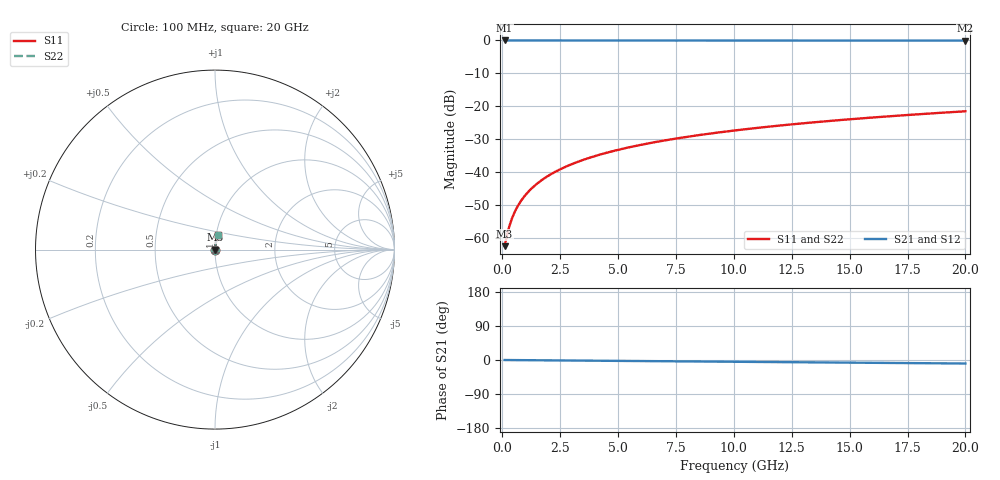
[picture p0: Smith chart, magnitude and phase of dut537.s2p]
! Touchstone file exported from HFSS 2026.1.0
!  File:  C:/ffzhzh/LocalFiles/Ansys_Project_Files/temp_train_TSV_537_1783023948_51716.aedt
!  Generated:  04:28:03 AM Jul  3, 2026
!  Design:  TSV
!  Project:  temp_train_TSV_537_1783023948_51716
! Variables:
!  h_bsmrdl = 2um
!  h_ox = 20um
!  h_rdl = 5um
!  h_sub = 77.66um
!  h_tmrdl = 5um
!  h_tsv = 77.66um
!  h_via = 3um
!  l_bsmrdl = 300um
!  l_sub = 407.86um
!  l_tmrdl = 200um
!  m_sub = 200um
!  pitch = 39.42um
!  r_tsv = 3.93um
!  s_tmrdl = 10um
!  w_bsmrdl = 18um
!  w_sub = 500um
!  w_tmrdl = 12um
!  x_tsv_center1 = 206um
!  x_tsv_center2 = 524um
!  x_tsv_center3 = 736um
!  x_tsv_center4 = 1054um
!  x_tsv_center5 = 1266um
!  x_tsv_center6 = 1584um
# GHz S MA R 50.000000
! Terminal data exported
! Port[1] = TSV1_1_T1
! Port[2] = TSV1_1_T2
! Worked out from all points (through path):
!   200 points, 100 MHz to 20 GHz, reference 50 ohm
!   highest |S21| = -0.01 dB at 100 MHz (marker M1); lowest = -0.1 dB at 20 GHz (marker M2)
!   group delay of S21, straight-line fit = 1.28 ps
!   lowest |S11| = -62.4 dB at 100 MHz (marker M3), VSWR 1.00, Z = 50.1 + j0.0461 ohm
!   |S11| at or under -10 dB: start of sweep to end of sweep
!   |S22| runs from -62.4 to -21.5 dB; largest |S21 - S12| = 5.2e-15
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0.1  0.0007597 37.3  0.9994 -0.0  0.9994 -0.0  0.0007597 37.3
! Gamma 0 0 0 0
! Port Impedance 50 0 50 0
0.2  0.001104 56.1  0.9994 -0.1  0.9994 -0.1  0.001104 56.1
0.3  0.001505 65.3  0.9994 -0.1  0.9994 -0.1  0.001505 65.3
0.4  0.001925 70.5  0.9994 -0.2  0.9994 -0.2  0.001925 70.5
0.5  0.002353 73.8  0.9993 -0.2  0.9993 -0.2  0.002353 73.8
0.6  0.002784 76.1  0.9993 -0.3  0.9993 -0.3  0.002784 76.1
0.8  0.003655 79.0  0.9993 -0.4  0.9993 -0.4  0.003655 79.0
1.1  0.00497 81.4  0.9993 -0.5  0.9993 -0.5  0.00497 81.4
1.5  0.006731 83.0  0.9992 -0.7  0.9992 -0.7  0.006731 83.0
1.8  0.008051 83.7  0.9992 -0.9  0.9992 -0.9  0.008051 83.7
2.1  0.00937 84.1  0.9992 -1.0  0.9992 -1.0  0.00937 84.1
2.7  0.012 84.5  0.999 -1.3  0.999 -1.3  0.012 84.5
3.5  0.01548 84.7  0.9989 -1.7  0.9989 -1.7  0.01548 84.7
4.2  0.0185 84.6  0.9987 -2.0  0.9987 -2.0  0.0185 84.6
5  0.02193 84.5  0.9985 -2.4  0.9985 -2.4  0.02193 84.5
5.9  0.02576 84.2  0.9983 -2.8  0.9983 -2.8  0.02576 84.2
6.8  0.02957 84.0  0.9981 -3.2  0.9981 -3.2  0.02957 84.0
8.3  0.03588 83.5  0.9977 -3.9  0.9977 -3.9  0.03588 83.5
10.1  0.04341 82.9  0.9972 -4.7  0.9972 -4.7  0.04341 82.9
13.4  0.05714 81.6  0.9963 -6.2  0.9963 -6.2  0.05714 81.6
16.7  0.07076 80.4  0.9952 -7.7  0.9952 -7.7  0.07076 80.4
20  0.08428 79.0  0.9939 -9.3  0.9939 -9.3  0.08428 79.0
